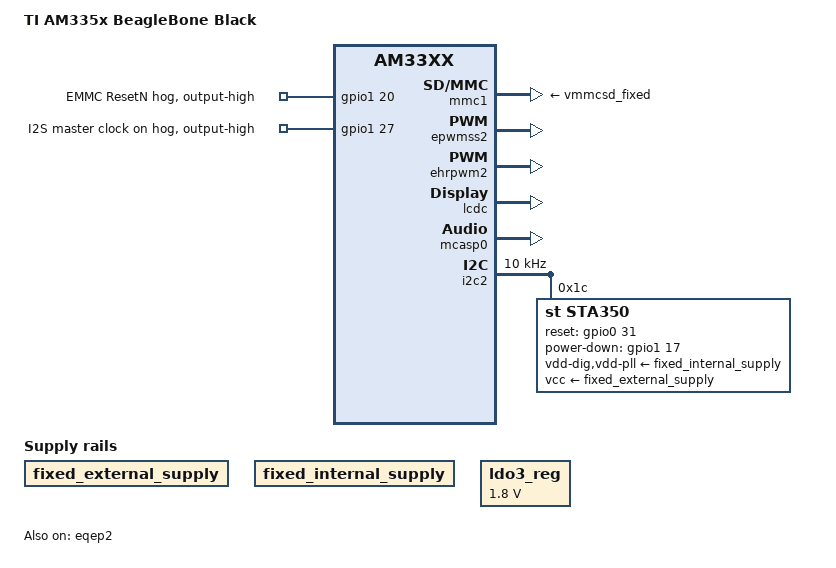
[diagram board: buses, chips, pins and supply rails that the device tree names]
/dts-v1/;

#include "am33xx.dtsi"
#include "am335x-bone-common.dtsi"

/ {
	model = "TI AM335x BeagleBone Black";
	compatible = "ti,am335x-bone-black", "ti,am335x-bone", "ti,am33xx";
};

&ldo3_reg {
	regulator-min-microvolt = <1800000>;
	regulator-max-microvolt = <1800000>;
	regulator-always-on;
};

&mmc1 {
	vmmc-supply = <&vmmcsd_fixed>;
};

&gpio1 {
	/* EMMC in reset */
	emmc_rst {
		gpio-hog;
		gpios = <20 0>;
		output-high;
		line-name = "EMMC ResetN";
	};

	/* i2s master clock is always on */
	i2s_mclk_on {
		gpio-hog;
		gpios = <27 0>;
		output-high;
		line-name = "I2S master clock on";
	};
};

&rtc {
	system-power-controller;
};

&am33xx_pinmux {
	/* audio */
	mcasp0_pins: mcasp0_pins {
		pinctrl-single,pins = <
			0x1ac (PIN_INPUT_PULLUP | MUX_MODE0)	/* mcasp0_ahclkx.mcasp0_ahclkx (MCK) */
			0x19c (PIN_OUTPUT_PULLDOWN | MUX_MODE2) /* mcasp0_ahclkr.mcasp0_axr2 (D_AMP) */
			0x194 (PIN_OUTPUT_PULLUP | MUX_MODE0)	/* mcasp0_fsx.mcasp0_fsx (LRCK) */
			0x190 (PIN_OUTPUT_PULLDOWN | MUX_MODE0)	/* mcasp0_aclkx.mcasp0_aclkx (BCK) */
			0x198 (PIN_INPUT_PULLUP | MUX_MODE0)    /* mcasp0_axr0.mcasp0_axr0 (D_ADC) */
			0x06c (PIN_OUTPUT_PULLDOWN | MUX_MODE7)	/* gpmc_a11.GPIO1_27 */

			0x074 (PIN_OUTPUT_PULLDOWN | MUX_MODE7) /* gpmc_wpn.GPIO0_31 (RESET) */
			0x044 (PIN_OUTPUT_PULLDOWN | MUX_MODE7) /* gpmc_a1.GPIO1_17 (POWERDOWN) */
		>;
	};

	/* rotary encoder */
	eqep2_pins: eqep2_pins {
		pinctrl-single,pins = <
			0x030 (PIN_INPUT_PULLUP | MUX_MODE4)    /* GPMC_AD12 -> eQEP2A_in (ENCODER_A) */
			0x034 (PIN_INPUT_PULLUP | MUX_MODE4)    /* GPMC_AD13 -> eQEP2B_in (ENCODER_B) */
		>;
	};

	/* PWM power led */
	ehrpwm2_pins: ehrpwm2_pins {
		pinctrl-single,pins = <
			0x020 (PIN_OUTPUT_PULLDOWN | MUX_MODE4) /* GPMC_AD8 -> ehrpwm2A (PWR_LED) */
		>;
	};
};

&epwmss2 {
	status = "okay";
};

&ehrpwm2 {
	pinctrl-names = "default";
	pinctrl-0 = <&ehrpwm2_pins>;

	status = "okay";
};

&eqep2 {
	pinctrl-names = "default";
	pinctrl-0 = <&eqep2_pins>;

	clocks = <&dpll_core_m4_div2_ck>;
	clock-names = "fck";

	status = "okay";
};

&lcdc {
	status = "okay";
};

&mcasp0	{
#sound-dai-cells = <0>;
	pinctrl-names = "default";
	pinctrl-0 = <&mcasp0_pins>;
	status = "okay";
	op-mode = <0>;	/* MCASP_IIS_MODE */
	tdm-slots = <2>;
	serial-dir = <	/* 0: INACTIVE, 1: TX, 2: RX */
			0 0 1 0 /* FIXME: axr0 inactive for now */
		>;
	tx-num-evt = <1>;
	rx-num-evt = <1>;
};

&i2c2 {
	clock-frequency = <10000>;

	sta350: sta350@38 {
		#sound-dai-cells = <0>;
		compatible = "st,sta350";
		reg = <0x1c>;
		reset-gpios = <&gpio0 31 0>;
		power-down-gpios = <&gpio1 17 0>;

		vdd-dig-supply = <&fixed_internal_supply>;
		vdd-pll-supply = <&fixed_internal_supply>;
		vcc-supply = <&fixed_external_supply>;

		st,max-power-correction;
		st,distortion-compensation;
		st,noise-shape-dc-cut;
	};
};

/ {
	sound {
		compatible = "simple-audio-card";
		simple-audio-card,name = "Vaporsound";
		simple-audio-card,widgets =
			"Speaker", "Speaker",
			"Line", "Line";
		simple-audio-card,routing =
			"Speaker", "Playback",
			"Line", "Capture";

		simple-audio-card,dai-link {
			format = "i2s";
			bitclock_master = <&sound_codec>;
			frame_master = <&sound_cpu>;

			sound_cpu: cpu {
				sound-dai = <&mcasp0>;
				system-clock-frequency = <24576000>;
			};

			sound_codec: codec {
				sound-dai = <&sta350>, <&pcm1808>;
				system-clock-frequency = <24576000>;
			};
		};
	};

	pcm1808: pcm1808 {
		#sound-dai-cells = <0>;
		compatible = "ti,pcm1808";
	};

	fixed_external_supply: fixed-regulator {
		compatible = "regulator-fixed";
		regulator-name = "vaporsound_supply";
	};

	fixed_internal_supply: fixed-regulator {
		compatible = "regulator-fixed";
		regulator-name = "vaporsound_internal_supply";
	};
};
